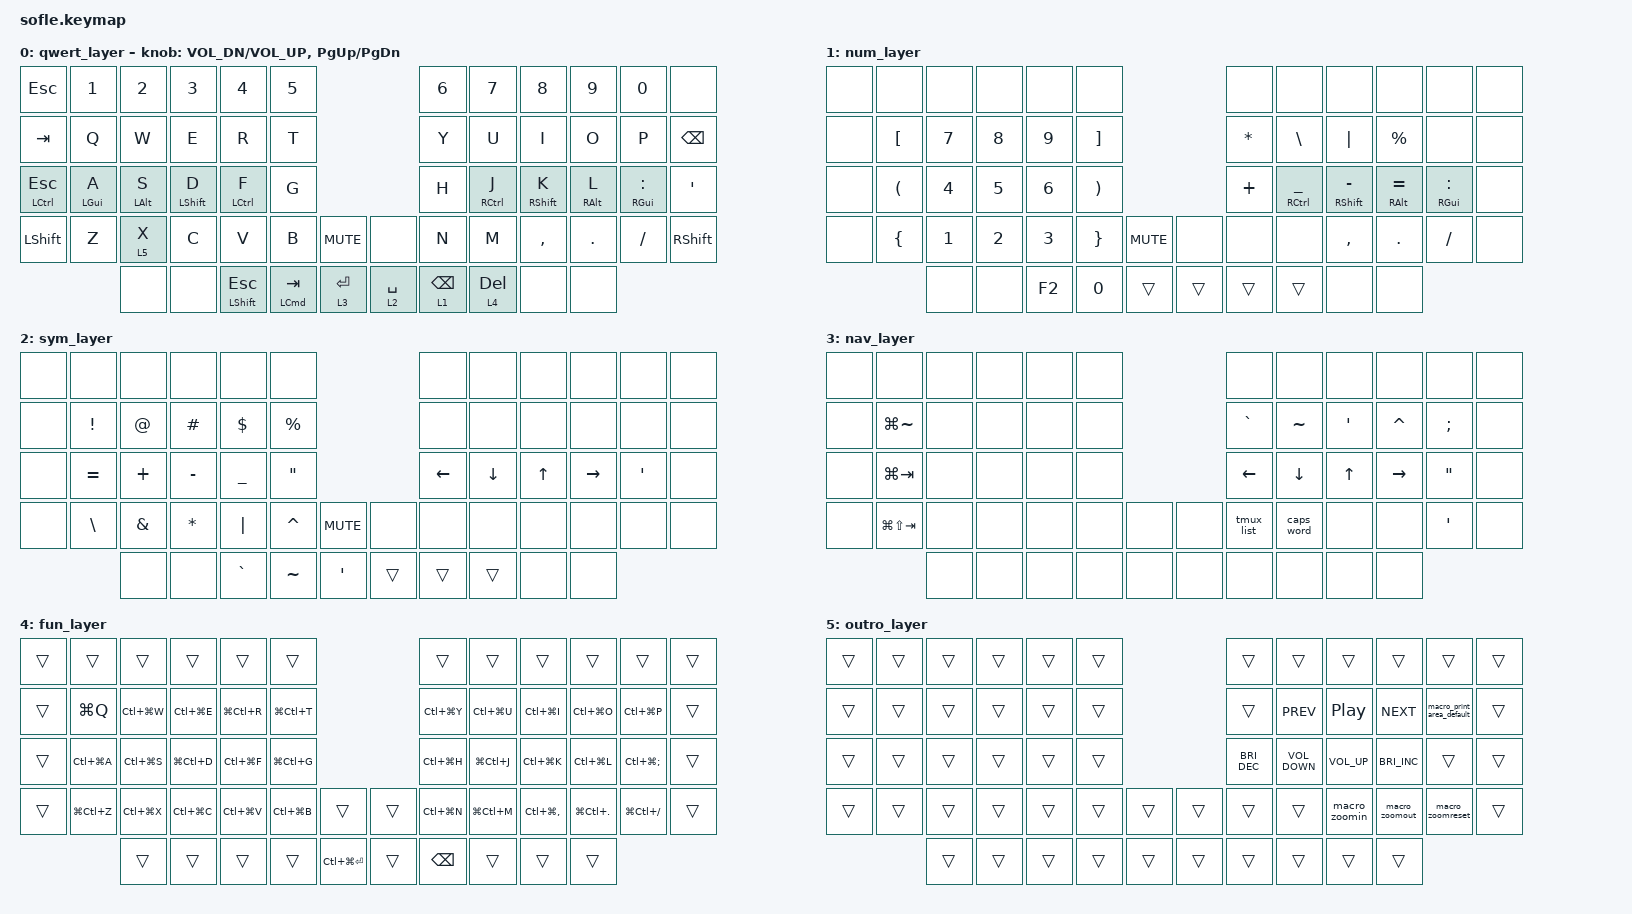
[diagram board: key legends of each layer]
/*
 * Copyright (c) 2020 The ZMK Contributors
 *
 * SPDX-License-Identifier: MIT
 */

#include <behaviors.dtsi>
#include <dt-bindings/zmk/keys.h>

#define ZMK_HELPER_KEEP_NATIVE 1
#include "zmk-helpers/helper.h"
#include "zmk-helpers/key-labels/sofle.h"

#define HM_TAPPING_TERM 280
#define HM_PRIOR_IDLE   150
#define HM_QUICK_TAP    175

ZMK_HOLD_TAP(hml,
    flavor = "balanced";
    tapping-term-ms = <HM_TAPPING_TERM>;
    quick-tap-ms = <HM_QUICK_TAP>;
    require-prior-idle-ms = <HM_PRIOR_IDLE>;
    hold-trigger-key-positions = <KEYS_R THUMBS>;
    hold-trigger-on-release;
    bindings = <&kp>, <&kp>;
)

ZMK_HOLD_TAP(hmr,
    flavor = "balanced";
    tapping-term-ms = <HM_TAPPING_TERM>;
    quick-tap-ms = <HM_QUICK_TAP>;
    require-prior-idle-ms = <HM_PRIOR_IDLE>;
    hold-trigger-key-positions = <KEYS_L THUMBS>;
    hold-trigger-on-release;
    bindings = <&kp>, <&kp>;
)

&mt {
    tapping-term-ms = <200>;
    quick_tap_ms = <0>;
    flavor = "tap-preferred";
};

&lt {
    tapping-term-ms = <200>;
    quick_tap_ms = <0>;
    flavor = "tap-preferred";
};

&caps_word { continue-list = <DEL MINUS BSPC>; };

#define QWERT_L 0
#define NUM_L   1
#define SYM_L   2
#define NAV_L   3
#define OUT_L   4
#define FUN_L   5
#define MY_COPY LC(INSERT)
#define MY_PASTE LS(INSERT)

//#define VI_U LC(Z)
//#define VI_W LC(RIGHT)
//#define VI_B LC(LEFT)

#define CCA &kp LG(LC(A))
#define CCB &kp LG(LC(B))
#define CCC &kp LG(LC(C))
#define CCD &kp LG(LC(D))
#define CCE &kp LG(LC(E))
#define CCF &kp LG(LC(F))
#define CCG &kp LG(LC(G))
#define CCH &kp LG(LC(H))
#define CCI &kp LG(LC(I))
#define CCJ &kp LG(LC(J))
#define CCK &kp LG(LC(K))
#define CCL &kp LG(LC(L))
#define CCM &kp LG(LC(M))
#define CCN &kp LG(LC(N))
#define CCO &kp LG(LC(O))
#define CCP &kp LG(LC(P))
#define CCQ &kp LG(LC(Q))
#define CCR &kp LG(LC(R))
#define CCS &kp LG(LC(S))
#define CCT &kp LG(LC(T))
#define CCU &kp LG(LC(U))
#define CCV &kp LG(LC(V))
#define CCW &kp LG(LC(W))
#define CCX &kp LG(LC(X))
#define CCY &kp LG(LC(Y))
#define CCZ &kp LG(LC(Z))
#define CC_C &kp LG(LC(COMMA))
#define CC_D &kp LG(LC(DOT))
#define CC_L &kp LG(LC(SEMI))
#define CC_S &kp LG(LC(SLASH))
#define TAB_FW &kp LG(TAB)
#define TAB_BW &kp LG(LS(TAB))
#define TAB_CY &kp LG(TILDE)

/ {
    macros {
        tmux_list: tmux_list {
            label = "tmux_list";
            compatible = "zmk,behavior-macro";
            #binding-cells = <0>;
            bindings =
                <&macro_press>,
                <&kp LCTRL>,
                <&macro_tap>,
                <&kp A>,
                <&macro_release>,
                <&kp LCTRL>,
                <&macro_tap>,
                <&kp N0>;
        };

        macro_u: macro_u {
            label = "macro_u";
            compatible = "zmk,behavior-macro";
            #binding-cells = <0>;
            bindings =
                <&macro_press>,
                <&kp LCTRL>,
                <&macro_press>,
                <&kp LCMD>,
                <&macro_press>,
                <&kp U>,
                <&macro_release>,
                <&kp LCTRL>,
                <&macro_release>,
                <&kp LCMD>,
                <&macro_release>,
                <&kp U>;
        };

        macro_i: macro_i {
            label = "macro_i";
            compatible = "zmk,behavior-macro";
            #binding-cells = <0>;
            bindings =
                <&macro_press>,
                <&kp LCTRL>,
                <&macro_press>,
                <&kp LCMD>,
                <&macro_press>,
                <&kp I>,
                <&macro_release>,
                <&kp LCTRL>,
                <&macro_release>,
                <&kp LCMD>,
                <&macro_release>,
                <&kp I>;
        };

        macro_n: macro_n {
            label = "macro_n";
            compatible = "zmk,behavior-macro";
            #binding-cells = <0>;
            bindings =
                <&macro_press>,
                <&kp LCTRL>,
                <&macro_press>,
                <&kp LCMD>,
                <&macro_press>,
                <&kp N>,
                <&macro_release>,
                <&kp LCTRL>,
                <&macro_release>,
                <&kp LCMD>,
                <&macro_release>,
                <&kp N>;
        };

        macro_m: macro_m {
            label = "macro_m";
            compatible = "zmk,behavior-macro";
            #binding-cells = <0>;
            bindings =
                <&macro_press>,
                <&kp LCTRL>,
                <&macro_press>,
                <&kp LCMD>,
                <&macro_press>,
                <&kp M>,
                <&macro_release>,
                <&kp LCTRL>,
                <&macro_release>,
                <&kp LCMD>,
                <&macro_release>,
                <&kp M>;
        };

        macro_d: macro_d {
            label = "macro_d";
            compatible = "zmk,behavior-macro";
            #binding-cells = <0>;
            bindings =
                <&macro_press>,
                <&kp LCTRL>,
                <&macro_press>,
                <&kp LCMD>,
                <&macro_press>,
                <&kp D>,
                <&macro_release>,
                <&kp LCTRL>,
                <&macro_release>,
                <&kp LCMD>,
                <&macro_release>,
                <&kp D>;
        };

        macro_comma: macro_comma {
            label = "macro_comma";
            compatible = "zmk,behavior-macro";
            #binding-cells = <0>;
            bindings =
                <&macro_press>,
                <&kp LCTRL>,
                <&macro_press>,
                <&kp LCMD>,
                <&macro_press>,
                <&kp COMMA>,
                <&macro_release>,
                <&kp LCTRL>,
                <&macro_release>,
                <&kp LCMD>,
                <&macro_release>,
                <&kp COMMA>;
        };

        macro_print_area_default: macro_print_area_default {
            label = "macro_print_area_default";
            compatible = "zmk,behavior-macro";
            #binding-cells = <0>;
            bindings =
                <&macro_press>,
                <&kp LCMD>,
                <&macro_press>,
                <&kp LSHFT>,
                <&macro_press>,
                <&kp N2>,
                <&macro_release>,
                <&kp LCMD>,
                <&macro_release>,
                <&kp LSHFT>,
                <&macro_release>,
                <&kp N2>;
        };

        macro_print_full: macro_print_full {
            label = "macro_print_full";
            compatible = "zmk,behavior-macro";
            #binding-cells = <0>;
            bindings =
                <&macro_press>,
                <&kp LCMD>,
                <&macro_press>,
                <&kp LSHFT>,
                <&macro_press>,
                <&kp N1>,
                <&macro_release>,
                <&kp LCMD>,
                <&macro_release>,
                <&kp LSHFT>,
                <&macro_release>,
                <&kp N1>;
        };

        macro_print_area_clipboard: macro_print_area_clipboard {
            label = "macro_print_area_clipboard";
            compatible = "zmk,behavior-macro";
            #binding-cells = <0>;
            bindings =
                <&macro_press>,
                <&kp LCMD>,
                <&macro_press>,
                <&kp LSHFT>,
                <&macro_press>,
                <&kp LCTRL>,
                <&macro_press>,
                <&kp N4>,
                <&macro_release>,
                <&kp LCMD>,
                <&macro_release>,
                <&kp LSHFT>,
                <&macro_release>,
                <&kp LCTRL>,
                <&macro_release>,
                <&kp N4>;
        };

        macro_zoomin: macro_zoomin {
            label = "macro_zoomin";
            compatible = "zmk,behavior-macro";
            #binding-cells = <0>;
            bindings =
                <&macro_press>,
                <&kp LCMD>,
                <&macro_press>,
                <&kp PLUS>,
                <&macro_release>,
                <&kp LCMD>,
                <&macro_release>,
                <&kp PLUS>;
        };

        macro_zoomout: macro_zoomout {
            label = "macro_zoomout";
            compatible = "zmk,behavior-macro";
            #binding-cells = <0>;
            bindings =
                <&macro_press>,
                <&kp LCMD>,
                <&macro_press>,
                <&kp MINUS>,
                <&macro_release>,
                <&kp LCMD>,
                <&macro_release>,
                <&kp MINUS>;
        };

        macro_zoomreset: macro_zoomreset {
            label = "macro_zoomreset";
            compatible = "zmk,behavior-macro";
            #binding-cells = <0>;
            bindings =
                <&macro_press>,
                <&kp LCMD>,
                <&macro_press>,
                <&kp N0>,
                <&macro_release>,
                <&kp LCMD>,
                <&macro_release>,
                <&kp N0>;
        };
    };

    behaviors {
        bhm: balanced_homerow_mods {
            compatible = "zmk,behavior-hold-tap";
            label = "HOMEROW_MODS";
            #binding-cells = <2>;
            tapping-term-ms = <200>;
            quick-tap-ms = <185>;
            flavor = "balanced";
            bindings = <&kp>, <&kp>;
        };
    };

    keymap {
        compatible = "zmk,keymap";

        // QWERTY

        qwert_layer {
            bindings = <
&kp ESCAPE               &kp NUMBER_1  &kp NUMBER_2  &kp NUMBER_3  &kp NUMBER_4    &kp NUMBER_5                              &kp NUMBER_6  &kp NUMBER_7  &kp NUMBER_8  &kp NUMBER_9  &kp NUMBER_0     &none
&kp TAB                  &kp Q         &kp W         &kp E         &kp R           &kp T                                     &kp Y         &kp U         &kp I         &kp O         &kp P            &kp BACKSPACE
&mt LEFT_CONTROL ESCAPE  &hml LGUI A   &hml LALT S   &hml LSHFT D  &hml LCTRL F    &kp G                                     &kp H         &hmr RCTRL J  &hmr RSHFT K  &hmr RALT L   &hmr RGUI COLON  &kp APOSTROPHE
&kp LEFT_SHIFT           &kp Z         &lt 5 X       &kp C         &kp V           &kp B          &kp C_MUTE    &none        &kp N         &kp M         &kp COMMA     &kp DOT       &kp SLASH        &kp RIGHT_SHIFT
                                       &none         &none         &bhm LSHFT ESC  &bhm LCMD TAB  &lt 3 RET     &lt 2 SPACE  &lt 1 BSPC    &lt 4 DEL     &none         &none
            >;

            sensor-bindings =
                <&inc_dec_kp C_VOL_DN C_VOL_UP>,
                <&inc_dec_kp PG_UP PG_DN>;
        };

        num_layer {
            bindings = <
&none  &none     &none   &none   &none   &none                           &none     &none             &none             &none            &none            &none
&none  &kp LBKT  &kp N7  &kp N8  &kp N9  &kp RBKT                        &kp STAR  &kp BSLH          &kp PIPE          &kp PRCNT        &none            &none
&none  &kp LPAR  &kp N4  &kp N5  &kp N6  &kp RPAR                        &kp PLUS  &hmr RCTRL UNDER  &hmr RSHFT MINUS  &hmr RALT EQUAL  &hmr RGUI COLON  &none
&none  &kp LBRC  &kp N1  &kp N2  &kp N3  &kp RBRC  &kp C_MUTE    &none   &none     &none             &kp COMMA         &kp DOT          &kp SLASH        &none
                 &none   &none   &kp F2  &kp N0    &trans        &trans  &trans    &trans            &none             &none
            >;
        };

        sym_layer {
            bindings = <
&none  &none      &none     &none      &none      &none                            &none       &none      &none      &none      &none     &none
&none  &kp EXCL   &kp AT    &kp HASH   &kp DLLR   &kp PRCNT                        &none  &none  &none  &none  &none  &none
&none  &kp EQUAL  &kp PLUS  &kp MINUS  &kp UNDER  &kp DQT                          &kp LEFT    &kp DOWN   &kp UP     &kp RIGHT  &kp SQT   &none
&none  &kp BSLH   &kp AMPS  &kp STAR   &kp PIPE   &kp CARET  &kp C_MUTE    &none   &none       &none      &none      &none      &none     &none
                  &none     &none      &kp GRAVE  &kp TILDE  &kp SQT       &trans  &trans      &trans     &none      &none
            >;
        };

        nav_layer {
            bindings = <
&none  &none            &none  &none  &none  &none                  &none       &none     &none   &none      &none              &none
&none  &kp LG(TILDE)    &none  &none  &none  &none                  &kp GRAVE  &kp TILDE      &kp APOSTROPHE   &kp CARET      &kp SEMI           &none
&none  &kp LG(TAB)      &none  &none  &none  &none                  &kp LEFT    &kp DOWN  &kp UP  &kp RIGHT  &kp DOUBLE_QUOTES  &none
&none  &kp LG(LS(TAB))  &none  &none  &none  &none  &none    &none  &tmux_list  &caps_word     &none   &none      &kp SINGLE_QUOTE   &none
                        &none  &none  &none  &none  &none    &none  &none       &none     &none   &none
            >;
        };

        fun_layer {
            bindings = <
&trans  &trans         &trans         &trans         &trans         &trans                                       &trans         &trans         &trans             &trans              &trans                 &trans
&trans  &kp LG(Q)      &kp LC(LG(W))  &kp LC(LG(E))  &kp LG(LC(R))  &kp LG(LC(T))                                &kp LC(LG(Y))  &kp LC(LG(U))  &kp LC(LG(I))      &kp LC(LG(O))       &kp LC(LG(P))          &trans
&trans  &kp LC(LG(A))  &kp LC(LG(S))  &kp LG(LC(D))  &kp LC(LG(F))  &kp LG(LC(G))                                &kp LC(LG(H))  &kp LG(LC(J))  &kp LC(LG(K))      &kp LC(LG(L))       &kp LC(LG(SEMICOLON))  &trans
&trans  &kp LG(LC(Z))  &kp LC(LG(X))  &kp LC(LG(C))  &kp LC(LG(V))  &kp LC(LG(B))  &trans                &trans  &kp LC(LG(N))  &kp LG(LC(M))  &kp LC(LG(COMMA))  &kp LG(LC(PERIOD))  &kp LG(LC(SLASH))      &trans
                       &trans         &trans         &trans         &trans         &kp LC(LG(RETURN))    &trans  &kp BACKSPACE  &trans         &trans             &trans
            >;
        };

        outro_layer {
            bindings = <
&trans  &trans  &trans  &trans  &trans  &trans                    &trans                &trans             &trans            &trans                &trans                     &trans
&trans  &trans  &trans  &trans  &trans  &trans                    &trans                &kp C_PREV         &kp C_PLAY_PAUSE  &kp C_NEXT            &macro_print_area_default  &trans
&trans  &trans  &trans  &trans  &trans  &trans                    &kp C_BRIGHTNESS_DEC  &kp C_VOLUME_DOWN  &kp C_VOLUME_UP   &kp C_BRIGHTNESS_INC  &trans                     &trans
&trans  &trans  &trans  &trans  &trans  &trans  &trans    &trans  &trans                &trans             &macro_zoomin     &macro_zoomout        &macro_zoomreset           &trans
                &trans  &trans  &trans  &trans  &trans    &trans  &trans                &trans             &trans            &trans
            >;
        };
    };
};
